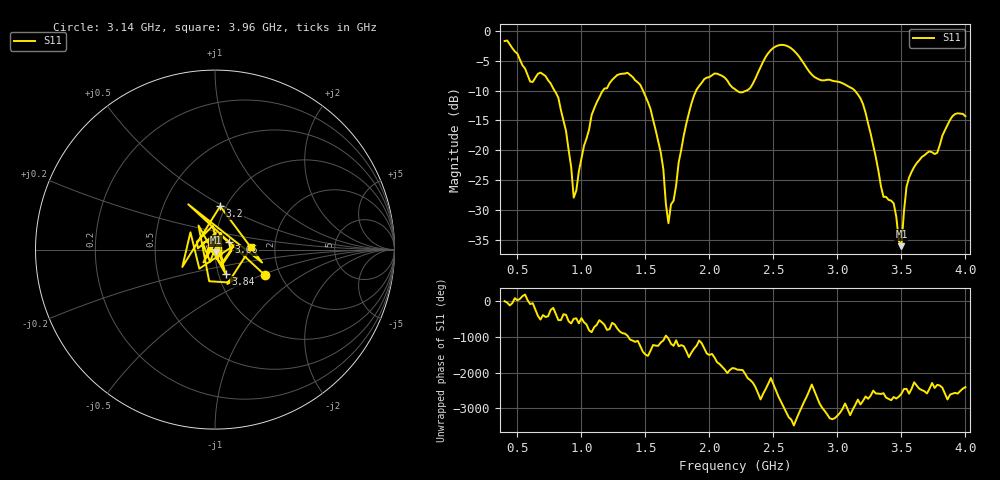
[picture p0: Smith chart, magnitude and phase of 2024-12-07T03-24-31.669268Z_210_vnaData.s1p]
!Created with skrf (http://scikit-rf.org).
# Hz S RI R 50.0
!freq ReS11 ImS11
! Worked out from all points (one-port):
!   181 points, 400 MHz to 4 GHz, reference 50 ohm
!   lowest |S11| = -36.1 dB at 3.5 GHz (marker M1), VSWR 1.03, Z = 50.4 - j1.53 ohm
!   |S11| at or under -10 dB: 789.8 MHz to 1.169 GHz (379 MHz wide, 38.7 % of centre); 1.481 GHz to 1.897 GHz (415.9 MHz wide, 24.6 % of centre); 3.135 GHz to end of sweep (the widest 3 of 4)
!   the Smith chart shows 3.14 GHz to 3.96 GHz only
!   S11 on the Smith chart (normalised r, x): 3.14 GHz: 1.67, -0.53; 3.2 GHz: 0.94, +0.48; 3.66 GHz: 1.16, +0.10; 3.84 GHz: 1.08, -0.30; 3.96 GHz: 1.51, +0.04
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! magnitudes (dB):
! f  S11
! 400 MHz  -1.7
! 600 MHz  -8.5
! 720 MHz  -7.6
! 860 MHz  -15.0
! 940 MHz  -27.9
! 1.08 GHz  -14.1
! 1.3 GHz  -7.3
! 1.54 GHz  -13.1
! 1.62 GHz  -20.4
! 1.68 GHz  -32.2
! 1.76 GHz  -22.0
! 1.86 GHz  -12.1
! 1.96 GHz  -8.1
! 2.2 GHz  -9.8
! 2.32 GHz  -9.6
! 2.5 GHz  -2.9
! 2.66 GHz  -3.3
! 3.1 GHz  -9.5
! 3.14 GHz  -10.1
! 3.2 GHz  -12.3
! 3.36 GHz  -27.8
! 3.44 GHz  -28.9
! 3.5 GHz  -36.1
! 3.56 GHz  -24.6
! 3.66 GHz  -21.1
! 3.84 GHz  -16.7
! 3.96 GHz  -13.9
! 4 GHz  -14.3
